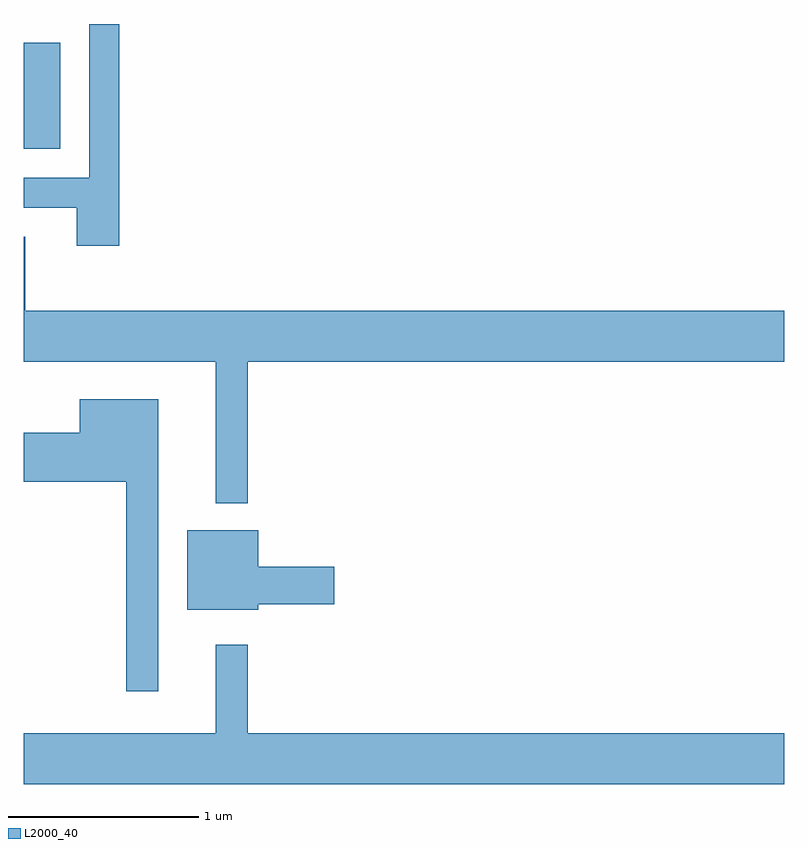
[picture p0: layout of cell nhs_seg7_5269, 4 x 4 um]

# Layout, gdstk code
import gdstk
lib = gdstk.Library(unit=1e-6, precision=1e-09)
def R(c, l, rs):  # rectangles x0, y0, x1, y1
    for r in rs: c.add(gdstk.rectangle(r[:2], r[2:], *l))
def P(c, l, *ps):  # polygons
    for p in ps: c.add(gdstk.Polygon(p, *l))
L2000_40 = (2000, 40)

nhs_seg7_5269 = lib.new_cell('nhs_seg7_5269')
R(nhs_seg7_5269, L2000_40, [(345.611,1777.596,345.804,1778.154)])
P(nhs_seg7_5269, L2000_40, [(346.114,1778.252),(345.956,1778.252),(345.956,1777.444),(345.611,1777.444),(345.611,1777.286),(345.891,1777.286),(345.891,1777.086),(346.114,1777.086)],
  [(346.789,1776.476),(349.611,1776.476),(349.611,1776.744),(345.619,1776.744),(345.619,1777.134),(345.611,1777.134),(345.611,1776.476),(346.621,1776.476),(346.621,1775.733),(346.789,1775.733)],
  [(346.319,1776.279),(345.906,1776.279),(345.906,1776.104),(345.611,1776.104),(345.611,1775.846),(346.151,1775.846),(346.151,1774.743),(346.319,1774.743)],
  [(346.844,1775.201),(347.244,1775.201),(347.244,1775.399),(346.844,1775.399),(346.844,1775.589),(346.471,1775.589),(346.471,1775.171),(346.844,1775.171)],
  [(349.611,1774.524),(346.789,1774.524),(346.789,1774.988),(346.621,1774.988),(346.621,1774.524),(345.611,1774.524),(345.611,1774.256),(349.611,1774.256)])

lib.write_gds('nhs_seg7_5269.gds')
